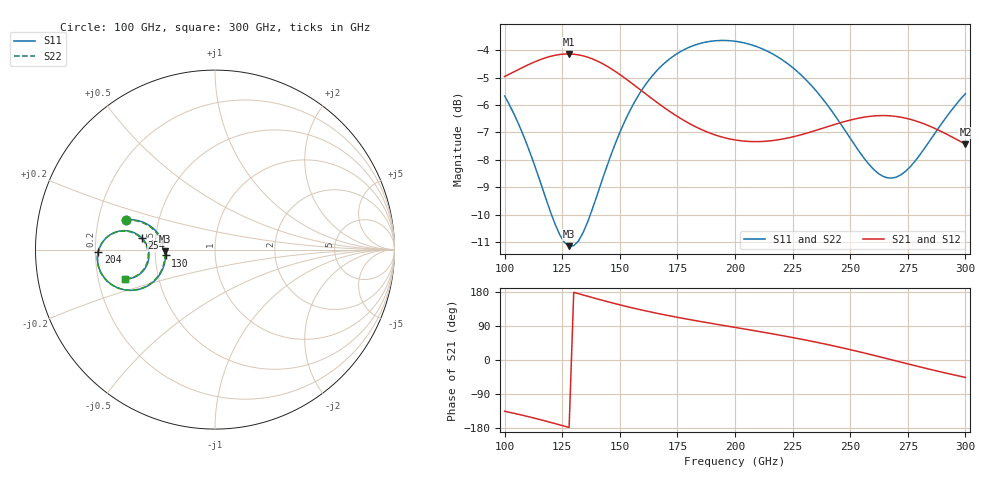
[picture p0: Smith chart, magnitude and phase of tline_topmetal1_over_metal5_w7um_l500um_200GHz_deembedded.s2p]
! Created with skrf 2.2.0 (http://scikit-rf.org).
# GHz S DB R 50.0
! Port[1] = P1
! Port[2] = P2
!freq dBS11 angS11 dBS21 angS21 dBS12 angS12 dBS22 angS22
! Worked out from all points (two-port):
!   101 points, 100 GHz to 300 GHz, reference 50 ohm
!   highest |S21| = -4.14 dB at 128 GHz (marker M1); lowest = -7.4 dB at 300 GHz (marker M2)
!   |S21| within 3 dB of the highest: start of sweep to 193.2 GHz; 226.1 GHz to 293.6 GHz (67.46 GHz wide, 26 % of centre)
!   lowest |S11| = -11.1 dB at 128 GHz (marker M3), VSWR 1.77, Z = 28.3 - j0.551 ohm
!   |S11| at or under -10 dB: 120.4 GHz to 137.2 GHz (16.81 GHz wide, 13.1 % of centre)
!   |S22| runs from -11.0 to -3.6 dB; largest |S21 - S12| = 5.5e-14
!   S11 on the Smith chart (normalised r, x): 100 GHz: 0.32, +0.15; 130 GHz: 0.57, -0.04; 204 GHz: 0.21, -0.01; 254 GHz: 0.42, +0.06; 300 GHz: 0.32, -0.14
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100  -5.67 161.3  -4.96 -135.2  -4.96 -135.2  -5.65 161.7
108  -7.08 159.2  -4.63 -146.1  -4.63 -146.1  -7.04 159.6
114  -8.44 160.3  -4.40 -155.1  -4.40 -155.1  -8.38 160.7
122  -10.36 168.8  -4.19 -167.9  -4.19 -167.9  -10.27 169.2
128  -11.15 -178.1  -4.14 -178.1  -4.14 -178.1  -11.03 -178.0
130  -11.13 -173.2  -4.15 178.5  -4.15 178.5  -11.02 -173.2
134  -10.67 -164.2  -4.21 171.7  -4.21 171.7  -10.57 -164.3
142  -8.82 -153.6  -4.47 158.3  -4.47 158.3  -8.76 -153.9
150  -7.00 -151.8  -4.89 145.6  -4.89 145.6  -6.96 -152.0
158  -5.66 -154.2  -5.39 134.0  -5.39 134.0  -5.63 -154.3
168  -4.58 -159.3  -6.02 121.0  -6.02 121.0  -4.57 -159.4
184  -3.78 -168.4  -6.84 102.7  -6.84 102.7  -3.76 -168.4
200  -3.68 -176.9  -7.27 86.0  -7.27 86.0  -3.66 -176.9
204  -3.74 -179.0  -7.32 81.9  -7.32 81.9  -3.72 -178.9
218  -4.22 174.5  -7.28 67.1  -7.28 67.1  -4.20 174.6
234  -5.37 168.9  -6.95 48.6  -6.95 48.6  -5.34 169.1
244  -6.46 167.9  -6.69 35.6  -6.69 35.6  -6.42 168.2
254  -7.71 171.0  -6.47 21.5  -6.47 21.5  -7.64 171.3
268  -8.67 -175.9  -6.40 0.5  -6.40 0.5  -8.58 -175.9
282  -7.61 -163.6  -6.69 -20.8  -6.69 -20.8  -7.55 -163.8
290  -6.64 -161.2  -6.99 -32.3  -6.99 -32.3  -6.59 -161.4
300  -5.59 -161.8  -7.43 -45.9  -7.43 -45.9  -5.55 -162.0
